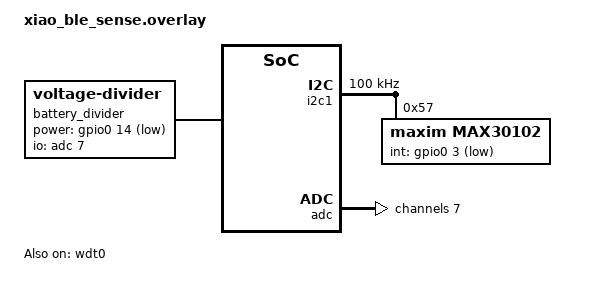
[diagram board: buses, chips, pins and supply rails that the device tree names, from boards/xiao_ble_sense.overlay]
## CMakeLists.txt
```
cmake_minimum_required(VERSION 3.20.0)

# Expose firmware/dts/bindings/ so the maxim,max30102 binding is found.
# Must come before find_package(Zephyr).
list(APPEND DTS_ROOT ${CMAKE_CURRENT_SOURCE_DIR})

find_package(Zephyr REQUIRED HINTS $ENV{ZEPHYR_BASE})
project(xiao_sense_app)

target_sources(app PRIVATE
    src/main.c
    src/led.c
    src/imu.c
    src/max30102.c
    src/power.c
    src/ble.c
    src/battery.c
    src/contact.c
    src/watchdog.c
    src/crashlog.c
)
```

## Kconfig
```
mainmenu "PhysDAQ Wearable"

source "Kconfig.zephyr"

config PHYSDAQ_IDLE_TIMEOUT_SEC
	int "Seconds of inactivity before deep sleep"
	default 10
	range 5 300
	help
	  The device enters deep sleep (system off, ~0.4 µA) after this many
	  consecutive seconds with none of the three activity signals: no
	  gyroscope motion, no IR skin contact (see firmware/src/contact.c),
	  and no host link (BLE connection or USB port held open). Worn but
	  still (e.g. resting) does not trigger sleep, and neither does a live
	  host link — a node left connected never sleeps, so disconnect it to
	  let it go down.
	  Wake-up is triggered by the LSM6DS3TR-C activity interrupt on INT1.
	  Change in prj.conf: CONFIG_PHYSDAQ_IDLE_TIMEOUT_SEC=<value>
```

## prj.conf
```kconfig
CONFIG_GPIO=y
CONFIG_SERIAL=y
CONFIG_UART_CONSOLE=y
# DTR on the CDC ACM console tells power.c whether a host holds the USB port
# open — a cabled session must hold off deep sleep like a BLE link does.
CONFIG_UART_LINE_CTRL=y

CONFIG_I2C=y
CONFIG_SENSOR=y
CONFIG_LSM6DSL=y

# VBAT sense (P0.31/AIN7, gated by P0.14) — battery percentage status
CONFIG_ADC=y

# Hardware watchdog — auto-reset the SoC if main() hangs (e.g. a wedged I2C
# bus). Fed each loop iteration in firmware/src/main.c.
CONFIG_WATCHDOG=y
# crashlog.c overrides the fatal-error handler to record the fault in noinit
# RAM and reboot, instead of Zephyr's default halt-with-interrupts-locked that
# left the crash invisible and the watchdog to clean up 8 s later.
CONFIG_REBOOT=y
# Headroom. main() formats a 160 B line through picolibc's printf on top of
# the sensor structs, and the default 1 KiB was never measured against it.
CONFIG_MAIN_STACK_SIZE=2048
# Thread names for the watchdog starvation report ("CPU held by ...").
CONFIG_THREAD_NAME=y

# Seconds of inactivity (no motion AND no validated skin contact) before
# entering deep sleep (System Off via nRF HAL). Change here without
# touching source code.
CONFIG_PHYSDAQ_IDLE_TIMEOUT_SEC=10

# BLE — NUS-compatible GATT service for wireless data streaming
# NUS service is implemented directly in firmware/src/ble.c using raw GATT
# macros (no CONFIG_BT_NUS dependency — that is NCS-only, not plain Zephyr).
CONFIG_BT=y
CONFIG_BT_PERIPHERAL=y
CONFIG_BT_DEVICE_NAME="PhysDAQ"
CONFIG_BT_MAX_CONN=1
# Every unit used to advertise the identical "PhysDAQ", so a scan could not tell
# two nodes apart. ble.c appends a per-chip suffix at boot, which needs the name
# to be writable at runtime (DYNAMIC) and HWINFO for the factory device ID.
# The name is derived, not stored — no NVS is configured on this board.
CONFIG_BT_DEVICE_NAME_DYNAMIC=y
CONFIG_BT_DEVICE_NAME_MAX=24
CONFIG_HWINFO=y
# Allow MTU negotiation up to 247 bytes so a full data line fits in one notify.
# BT_GATT_CLIENT enables bt_gatt_exchange_mtu() — needed even on a peripheral.
CONFIG_BT_GATT_CLIENT=y
CONFIG_BT_L2CAP_TX_MTU=247
CONFIG_BT_BUF_ACL_TX_SIZE=251
CONFIG_BT_BUF_ACL_RX_SIZE=251
# The host buffers above are 251 B, but the *controller* was still at the
# 27 B LL default (CONFIG_BT_CTLR_DATA_LENGTH_MAX=27 in build/zephyr/.config),
# so every ~120 B line went out as five link-layer packets. That is what
# saturated the link at Windows' 30 ms interval and made ble_send() drop
# lines ("dropped N" in the Power: status). Data Length Extension lets one
# line ride in one packet; Windows negotiates it.
CONFIG_BT_CTLR_DATA_LENGTH_MAX=251
# Deeper TX pools (default 3 each): a burst of a sample, battery and status
# line within one interval no longer stalls the TX thread.
CONFIG_BT_BUF_ACL_TX_COUNT=6
CONFIG_BT_L2CAP_TX_BUF_COUNT=6
CONFIG_BT_CONN_TX_MAX=6
CONFIG_BT_ATT_TX_COUNT=6

# Radio TX power: +8 dBm (default is 0). A worn node's antenna is shadowed by
# the body, and 2.4 GHz body attenuation is severe — link fades were throttling
# throughput (visible as a slowdown in the app) and then tripping the
# supervision timeout. The extra margin rides through most fades.
CONFIG_BT_CTLR_TX_PWR_PLUS_8=y

# Preferred connection parameters, requested from the central ~5 s after
# connect (BT_GAP_AUTO_UPDATE_CONN_PARAMS). Windows' defaults pair a lazy
# interval with a ~2 s supervision timeout; we ask for a short interval
# (15–30 ms, headroom for ~25 Hz of ~120 B lines) and a 5 s timeout so a brief
# fade degrades throughput instead of killing the link. Best-effort — the
# central may reject.
#
# DISABLED: on Windows the node died ~50 ms to ~1 s after the update was
# applied ("BLE: conn params: interval 15 ms" was the last line before the
# console vanished), every time, and reset with cause=watchdog. Left off until
# the failure is understood; the central's defaults are what worked before.
CONFIG_BT_GAP_AUTO_UPDATE_CONN_PARAMS=n
CONFIG_BT_PERIPHERAL_PREF_MIN_INT=12
CONFIG_BT_PERIPHERAL_PREF_MAX_INT=24
CONFIG_BT_PERIPHERAL_PREF_LATENCY=0
CONFIG_BT_PERIPHERAL_PREF_TIMEOUT=500
```

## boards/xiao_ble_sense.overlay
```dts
/*
 * XIAO BLE Sense overlay — PhysDAQ PPG + IMU
 *
 * I2C0 @ 0x6A : LSM6DS3TR-C IMU  (pinctrl: SDA=P0.07, SCL=P0.27; unchanged)
 * I2C1 @ 0x57 : MAX30102 PPG     (pinctrl: SDA=D4/P0.04, SCL=D5/P0.05)
 * D1  / P0.03 : MAX30102 INT (active LOW, open-drain, internal pull-up)
 *
 * The MAXREFDES117# eval board has no accessible EN/SHDN pin — the MAX30102
 * is always powered when VIN is connected.  No load-switch control needed.
 *
 * LED0 (P0.26 red), LED1 (P0.30 green), LED2 (P0.06 blue) are defined in
 * xiao_ble_common.dtsi and are not redefined here.
 */

#include <zephyr/dt-bindings/gpio/gpio.h>
#include <zephyr/dt-bindings/i2c/i2c.h>
#include <zephyr/dt-bindings/adc/adc.h>
#include <zephyr/dt-bindings/adc/nrf-adc.h>

/* Add MAX30102 child to the already-enabled I2C1 bus.
 * i2c1 uses nordic,nrf-twi with pinctrl already configured in
 * xiao_ble-pinctrl.dtsi (SDA=P0.04/D4, SCL=P0.05/D5). */
&i2c1 {
	clock-frequency = <I2C_BITRATE_STANDARD>;

	max30102: max30102@57 {
		compatible = "maxim,max30102";
		reg = <0x57>;
		int-gpios = <&gpio0 3 (GPIO_ACTIVE_LOW | GPIO_PULL_UP)>;
		status = "okay";
	};
};

/*
 * VBAT sense circuit (Seeed XIAO nRF52840 Sense hardware, not in the
 * connector pin map): 1M / 510k divider to AIN7 (P0.31), gated by the
 * active-low P0.14 read-enable pin. P0.14 LOW connects the divider; HIGH
 * disconnects it. The pin is therefore driven LOW only while sampling and
 * left HIGH the rest of the time, so the divider does not draw its ~2 uA
 * continuously. GPIO_ACTIVE_LOW below is what makes battery.c's logical
 * "1 = sampling" come out as a physical LOW.
 */
/ {
	battery_divider: battery-divider {
		compatible = "voltage-divider";
		io-channels = <&adc 7>;
		output-ohms = <510000>;
		full-ohms = <(1000000 + 510000)>;
		power-gpios = <&gpio0 14 GPIO_ACTIVE_LOW>;
	};
};

/* Hardware watchdog — last-resort recovery if main() ever hangs
 * (see firmware/src/watchdog.c). Usually already enabled on nRF52840, but
 * make it explicit so the build never silently drops the WDT. */
&wdt0 {
	status = "okay";
};

&adc {
	#address-cells = <1>;
	#size-cells = <0>;

	channel@7 {
		reg = <7>;
		zephyr,gain = "ADC_GAIN_1_6";
		zephyr,reference = "ADC_REF_INTERNAL";
		zephyr,acquisition-time = <ADC_ACQ_TIME_DEFAULT>;
		zephyr,input-positive = <NRF_SAADC_AIN7>;
		zephyr,resolution = <12>;
	};
};
```

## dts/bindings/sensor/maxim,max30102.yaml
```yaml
description: MAX30102 pulse oximeter and heart-rate sensor

compatible: "maxim,max30102"

include: [sensor-device.yaml, i2c-device.yaml]

properties:
  int-gpios:
    type: phandle-array
    required: true
    description: Active-low data-ready interrupt from MAX30102 INT pin
```

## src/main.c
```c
#include <zephyr/kernel.h>
#include <zephyr/sys/printk.h>
#include <zephyr/drivers/sensor.h>
#include "imu.h"
#include "max30102.h"
#include "power.h"
#include "ble.h"
#include "battery.h"
#include "contact.h"
#include "watchdog.h"
#include "version.h"
#include "crashlog.h"
#include <zephyr/drivers/hwinfo.h>

/* Format a sensor_value (val1 + val2/1e6) as "±integer.milli" using printk.
 * Mirrors the print_val helper in imu.c, kept local to avoid coupling. */
#define SV_SIGN(v)  (((v)->val1 < 0 || (v)->val2 < 0) ? "-" : "")
#define SV_INT(v)   ((v)->val1 < 0 ? -(v)->val1 : (v)->val1)
#define SV_MILLI(v) (((v)->val2 < 0 ? -(v)->val2 : (v)->val2) / 1000)

/*
 * Identity line. This is what tells the host which firmware it is talking to
 * and how many PPG channels to expect.
 *
 * Sent over both transports, unlike most diagnostics. The manufacturer data in
 * the advertisement carries the same device type, but USB CDC has no
 * advertising at all, so without this line a cabled node is unidentifiable.
 * Re-sent on every new BLE connection: a central that connects late has missed
 * the boot copy, and on USB the console does not exist yet while the board
 * boots, so the boot copy is routinely lost there too.
 */
/* Why the SoC last started. Read once at boot and cleared, then repeated to
 * every host that connects: a node that keeps "disconnecting" over BLE may
 * in fact be rebooting, and this is the only way to tell a watchdog reset
 * (main loop hung) from a fatal error (crash) or wake-from-System-Off
 * without a cable on the console. */
static uint32_t boot_cause;
static int64_t  boot_ms;

static const char *boot_cause_str(uint32_t c)
{
    if (c & RESET_WATCHDOG)      return "watchdog";
    if (c & RESET_SOFTWARE)      return "software (fatal error or reboot)";
    if (c & RESET_LOW_POWER_WAKE) return "wake from deep sleep";
    if (c & RESET_PIN)           return "reset pin";
    if (c & RESET_POR)           return "power-on";
    if (c & RESET_BROWNOUT)      return "brownout";
    if (c & RESET_DEBUG)         return "debugger";
    return "unknown";
}

static void send_identity(void)
{
    char line[128];
    int n = snprintk(line, sizeof(line),
        "ID model=node proto=%d fw=%s ppg=1 sd=0 name=%s\n",
        PHYSDAQ_AD_PROTO_VERSION, PHYSDAQ_FW_STRING, ble_device_name());

    printk("%s", line);
    ble_send((const uint8_t *)line, n);

    n = snprintk(line, sizeof(line),
        "Boot: cause=0x%x (%s), up %lld s\n",
        (unsigned int)boot_cause, boot_cause_str(boot_cause),
        (long long)((k_uptime_get() - boot_ms) / 1000));
    printk("%s", line);
    ble_send((const uint8_t *)line, n);

    n = crashlog_format(line, sizeof(line));
    if (n > 0) {
        printk("%s", line);
        ble_send((const uint8_t *)line, n);
    }
    n = crashlog_format_hang(line, sizeof(line));
    if (n > 0) {
        printk("%s", line);
        ble_send((const uint8_t *)line, n);
    }
}

int main(void)
{
    boot_ms = k_uptime_get();
    crashlog_init();
    if (hwinfo_get_reset_cause(&boot_cause) == 0) {
        /* Cleared so the next boot reports its own cause, not this one. */
        hwinfo_clear_reset_cause();
    }

    if (imu_init() < 0) {
        return 0;
    }

    if (max30102_init() < 0) {
        printk("MAX30102 init failed — halting\n");
        return 0;
    }

    if (battery_init() < 0) {
        printk("Battery ADC init failed — continuing without battery status\n");
    }

    contact_init();
    power_init();

    if (ble_init() < 0) {
        printk("BLE init failed — running USB-only\n");
    }

    /* Arm the watchdog only after all (potentially slow) init has finished,
     * so init delays can never trip it. From here on, main() must feed it. */
    watchdog_init();

    printk("\n=== PhysDAQ: PPG + IMU acquisition ===\n");
    printk("PPG: SpO2 mode, 100 Hz, 18-bit ADC\n");
    printk("IMU: accel [m/s^2], gyro [rad/s]\n");
    printk("BLE: NUS advertising as PhysDAQ\n");
    printk("Battery: VBAT via P0.31/AIN7, sampled every 5 s\n");
    printk("Power: sleep after %d s idle\n\n",
           CONFIG_PHYSDAQ_IDLE_TIMEOUT_SEC);

    send_identity();

    int64_t last_data_ms = k_uptime_get();

    while (1) {
        /* Feed the watchdog once per outer iteration. The loop turns over at
         * least every 200 ms (the max30102_wait_ready timeout), so if anything
         * below hangs — a wedged I2C transfer in particular — the feeds stop
         * and the SoC resets itself within the WDT window instead of freezing
         * indefinitely. */
        watchdog_feed();

        /* Rising edge of a host link, on either transport. BLE: keyed on the
         * *subscription*, not the connection — on the connection edge the
         * central has not enabled notifications yet and ble_send() drops the
         * line. USB: keyed on DTR — the console does not exist while the
         * board boots, so the boot copy is routinely lost there, and this is
         * what makes the ID and Boot lines show up in `make term`. */
        static bool was_linked;
        watchdog_set_stage("identity");
        bool linked = ble_is_subscribed() || power_usb_host_open();
        if (linked && !was_linked) {
            send_identity();
        }
        was_linked = linked;
        watchdog_set_stage("diagnostics");
        ble_flush_diagnostics();

        /* Wait for a PPG_RDY interrupt, or fall through on the timeout. The
         * timeout path is harmless and self-healing: max30102_wait_ready()
         * clears the interrupt flag on every wake, and max30102_fetch() polls
         * the FIFO (returning -ENODATA when empty), so a missed edge costs one
         * timeout of latency rather than a permanent stall. */
        watchdog_set_stage("wait_ready");
        max30102_wait_ready(K_MSEC(200));

        struct ppg_sample ppg;
        struct imu_sample imu;
        bool got_data = false;

        watchdog_set_stage("ppg_fetch");
        while (max30102_fetch(&ppg) == 0) {
            /* Fed here as well as at the top of the outer loop. This inner
             * loop only exits once the FIFO is empty, and when one sample's
             * worth of work (I2C reads, a 120 B printk over USB CDC, a BLE
             * notify) takes longer than the 10 ms sample period the FIFO
             * never empties — the loop spins healthily forever, the outer
             * feed is never reached, and the watchdog resets a node that was
             * streaming perfectly, with no message on either transport. That
             * was the "silent drop mid-stream" signature. A hang inside this
             * loop (wedged I2C) still stops the feeds, so the guard holds. */
            watchdog_feed();
            got_data = true;
            watchdog_set_stage("imu_fetch");
            if (imu_fetch_sample(&imu) < 0) {
                watchdog_set_stage("ppg_fetch");
                continue;
            }

            /* Format once, send to both USB console and BLE NUS */
            char line[160];
            int n = snprintk(line, sizeof(line),
                "PPG red=%u ir=%u | IMU "
                "ax=%s%d.%03d ay=%s%d.%03d az=%s%d.%03d "
                "gx=%s%d.%03d gy=%s%d.%03d gz=%s%d.%03d\n",
                ppg.red, ppg.ir,
                SV_SIGN(&imu.accel[0]), SV_INT(&imu.accel[0]), SV_MILLI(&imu.accel[0]),
                SV_SIGN(&imu.accel[1]), SV_INT(&imu.accel[1]), SV_MILLI(&imu.accel[1]),
                SV_SIGN(&imu.accel[2]), SV_INT(&imu.accel[2]), SV_MILLI(&imu.accel[2]),
                SV_SIGN(&imu.gyro[0]),  SV_INT(&imu.gyro[0]),  SV_MILLI(&imu.gyro[0]),
                SV_SIGN(&imu.gyro[1]),  SV_INT(&imu.gyro[1]),  SV_MILLI(&imu.gyro[1]),
                SV_SIGN(&imu.gyro[2]),  SV_INT(&imu.gyro[2]),  SV_MILLI(&imu.gyro[2]));

            watchdog_set_stage("printk");
            printk("%s", line);

            /* BLE link can carry ~4 kB/s at default Windows connection params.
             * 100 Hz × 120 B = 12 kB/s would overflow the TX queue instantly.
             * Cap at one notification per 40 ms (~25 Hz) — plenty for display. */
            static int64_t ble_last_ms;
            int64_t now_ms = k_uptime_get();
            if (now_ms - ble_last_ms >= 40) {
                ble_last_ms = now_ms;
                watchdog_set_stage("ble_send");
                ble_send((const uint8_t *)line, n);
            }

            watchdog_set_stage("contact");
            contact_update(ppg.ir);
            watchdog_set_stage("power");
            power_update(imu.gyro);

            /* Internally rate-limited to once every 5 s — cheap to call
             * every sample. */
            uint8_t batt_pct;
            int32_t batt_mv;
            watchdog_set_stage("battery");
            if (battery_poll(&batt_pct, &batt_mv) == 0) {
                char batt_line[48];
                int batt_n = snprintk(batt_line, sizeof(batt_line),
                    "Battery: %u%% (%d mV)\n", batt_pct, batt_mv);
                printk("%s", batt_line);
                ble_send((const uint8_t *)batt_line, batt_n);
            }
            watchdog_set_stage("ppg_fetch");
        }

        /* Sensor-stall recovery. If the FIFO produced nothing for over a
         * second the MAX30102 (or its I2C bus) has stalled — the CPU is fine,
         * so the watchdog won't help. Re-running init recovers the bus and
         * fully reconfigures the sensor, restarting acquisition instead of
         * leaving the whole pipeline (serial + BLE + power mgmt) frozen. */
        int64_t now = k_uptime_get();
        if (got_data) {
            last_data_ms = now;
        } else if (now - last_data_ms > 1000) {
            /* Dual-send like the battery line: over BLE, printk-only
             * diagnostics never reach the app, and a recurring reinit is
             * exactly the "slowdown before disconnect" signature worth
             * seeing in the System Logs pane. */
            static const char reinit_msg[] =
                "MAX30102: no data for >1s — reinitialising sensor\n";
            printk("%s", reinit_msg);
            ble_send((const uint8_t *)reinit_msg, sizeof(reinit_msg) - 1);
            watchdog_set_stage("max30102_reinit");
            max30102_init();
            last_data_ms = k_uptime_get();
        }
    }

    return 0;
}
```

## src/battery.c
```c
#include <zephyr/kernel.h>
#include <zephyr/drivers/adc.h>
#include <zephyr/drivers/adc/voltage_divider.h>
#include <zephyr/drivers/gpio.h>
#include <zephyr/sys/printk.h>
#include "battery.h"

#define SAMPLE_INTERVAL_MS  5000

/* VBAT divider on the XIAO nRF52840 Sense: R1=1M / R2=510k into AIN7
 * (P0.31), gated by the P0.14 read-enable pin (active low — leaving it
 * HIGH disconnects the divider and risks over-volting P0.31 above its
 * 3.6V input limit per Seeed's hardware notes). */
static const struct voltage_divider_dt_spec vbatt =
	VOLTAGE_DIVIDER_DT_SPEC_GET(DT_NODELABEL(battery_divider));
static const struct gpio_dt_spec read_en =
	GPIO_DT_SPEC_GET(DT_NODELABEL(battery_divider), power_gpios);

/* Single-cell LiPo discharge curve: voltage (mV) -> state of charge (%). */
struct battery_point {
	int32_t mv;
	uint8_t pct;
};
static const struct battery_point curve[] = {
	{4200, 100}, {4110, 90}, {4020, 80}, {3930, 70}, {3840, 60},
	{3750, 50},  {3660, 40}, {3570, 30}, {3480, 20}, {3390, 10}, {3300, 0},
};

static int64_t last_sample_ms;

static uint8_t percent_from_mv(int32_t mv)
{
	int n = ARRAY_SIZE(curve);

	if (mv >= curve[0].mv) {
		return 100;
	}
	if (mv <= curve[n - 1].mv) {
		return 0;
	}

	for (int i = 0; i < n - 1; i++) {
		if (mv <= curve[i].mv && mv >= curve[i + 1].mv) {
			int32_t span_mv  = curve[i].mv - curve[i + 1].mv;
			int32_t span_pct = curve[i].pct - curve[i + 1].pct;

			return curve[i + 1].pct + (mv - curve[i + 1].mv) * span_pct / span_mv;
		}
	}
	return 0;
}

int battery_init(void)
{
	if (!gpio_is_ready_dt(&read_en) || !adc_is_ready_dt(&vbatt.port)) {
		printk("Battery ADC/GPIO not ready\n");
		return -ENODEV;
	}

	if (gpio_pin_configure_dt(&read_en, GPIO_OUTPUT_INACTIVE) < 0) {
		printk("Battery read-enable GPIO config failed\n");
		return -EIO;
	}

	if (adc_channel_setup_dt(&vbatt.port) < 0) {
		printk("Battery ADC channel setup failed\n");
		return -EIO;
	}

	last_sample_ms = k_uptime_get() - SAMPLE_INTERVAL_MS;  /* sample on first poll */
	return 0;
}

int battery_poll(uint8_t *out_percent, int32_t *out_mv)
{
	int64_t now = k_uptime_get();

	if (now - last_sample_ms < SAMPLE_INTERVAL_MS) {
		return -EAGAIN;
	}
	last_sample_ms = now;

	int16_t buf;
	struct adc_sequence sequence = {
		.buffer = &buf,
		.buffer_size = sizeof(buf),
	};

	gpio_pin_set_dt(&read_en, 1);
	k_sleep(K_USEC(200));  /* let the divider settle before sampling */
	adc_sequence_init_dt(&vbatt.port, &sequence);
	int ret = adc_read_dt(&vbatt.port, &sequence);
	gpio_pin_set_dt(&read_en, 0);

	if (ret < 0) {
		return ret;
	}

	int32_t mv = buf;
	adc_raw_to_millivolts_dt(&vbatt.port, &mv);
	voltage_divider_scale_dt(&vbatt, &mv);

	*out_mv = mv;
	*out_percent = percent_from_mv(mv);
	return 0;
}
```

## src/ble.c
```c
#include <zephyr/kernel.h>
#include <zephyr/bluetooth/bluetooth.h>
#include <zephyr/bluetooth/conn.h>
#include <zephyr/bluetooth/uuid.h>
#include <zephyr/bluetooth/gatt.h>
#include <zephyr/sys/util.h>
#include <zephyr/sys/printk.h>
#include <zephyr/drivers/hwinfo.h>
#include <string.h>
#include "ble.h"

/* NUS-compatible UUIDs — identical to Nordic UART Service, so any NUS
 * client (bleak, nRF Connect app) works without any extra configuration. */
#define BT_UUID_NUS_SERVICE_VAL \
	BT_UUID_128_ENCODE(0x6e400001, 0xb5a3, 0xf393, 0xe0a9, 0xe50e24dcca9e)
#define BT_UUID_NUS_TX_VAL \
	BT_UUID_128_ENCODE(0x6e400003, 0xb5a3, 0xf393, 0xe0a9, 0xe50e24dcca9e)
#define BT_UUID_NUS_RX_VAL \
	BT_UUID_128_ENCODE(0x6e400002, 0xb5a3, 0xf393, 0xe0a9, 0xe50e24dcca9e)

#define BT_UUID_NUS_SERVICE BT_UUID_DECLARE_128(BT_UUID_NUS_SERVICE_VAL)
#define BT_UUID_NUS_TX      BT_UUID_DECLARE_128(BT_UUID_NUS_TX_VAL)
#define BT_UUID_NUS_RX      BT_UUID_DECLARE_128(BT_UUID_NUS_RX_VAL)

/* One queued line is at most a full sample line (main.c formats into 160 B).
 * Depth: at ~25 Hz a line every 40 ms, 16 slots is ~0.6 s of back-pressure
 * before lines start being dropped — enough to ride through a short fade
 * without growing an unbounded backlog of stale samples. */
#define TX_MSG_MAX       160
#define TX_QUEUE_DEPTH   16
#define TX_THREAD_STACK  2048
/* Below main (0): the acquisition loop always wins the CPU. */
#define TX_THREAD_PRIO   7

struct tx_msg {
	uint16_t len;
	uint8_t  data[TX_MSG_MAX];
};

K_MSGQ_DEFINE(tx_q, sizeof(struct tx_msg), TX_QUEUE_DEPTH, 4);


static struct bt_conn              *current_conn;
static bool                         notify_enabled;
static struct bt_gatt_exchange_params mtu_params;

/* Link diagnostics, recorded in the BT callbacks and drained by
 * ble_flush_diagnostics() from main(). They are kept rather than printed
 * because printk only reaches the USB console: a node used wirelessly loses
 * its link in silence otherwise. The disconnect reason in particular is the
 * one fact that separates a radio fade (supervision timeout) from the host
 * closing the link or the node resetting, and it can only be reported on the
 * *next* connection. */
static uint8_t  last_disc_reason;
static bool     disc_pending;
static uint16_t cur_interval, cur_latency, cur_timeout;
static bool     params_pending;

static void tx_ccc_changed(const struct bt_gatt_attr *attr, uint16_t value)
{
	notify_enabled = (value == BT_GATT_CCC_NOTIFY);
}

static ssize_t on_rx_write(struct bt_conn *conn,
			   const struct bt_gatt_attr *attr,
			   const void *buf, uint16_t len,
			   uint16_t offset, uint8_t flags)
{
	/* PC→device RX reserved for future commands */
	ARG_UNUSED(conn); ARG_UNUSED(attr);
	ARG_UNUSED(buf);  ARG_UNUSED(offset); ARG_UNUSED(flags);
	return len;
}

/* GATT service attribute table.  Indices matter for ble_send():
 * [0] Primary service
 * [1] TX characteristic declaration
 * [2] TX characteristic value  ← bt_gatt_notify() target
 * [3] TX CCC descriptor        (subscribe/unsubscribe)
 * [4] RX characteristic declaration
 * [5] RX characteristic value  */
BT_GATT_SERVICE_DEFINE(nus_svc,
	BT_GATT_PRIMARY_SERVICE(BT_UUID_NUS_SERVICE),

	BT_GATT_CHARACTERISTIC(BT_UUID_NUS_TX,
			       BT_GATT_CHRC_NOTIFY,
			       BT_GATT_PERM_NONE,
			       NULL, NULL, NULL),
	BT_GATT_CCC(tx_ccc_changed,
		    BT_GATT_PERM_READ | BT_GATT_PERM_WRITE),

	BT_GATT_CHARACTERISTIC(BT_UUID_NUS_RX,
			       BT_GATT_CHRC_WRITE_WITHOUT_RESP,
			       BT_GATT_PERM_WRITE,
			       NULL, on_rx_write, NULL),
);

/* Advertising payload.
 *
 * The NUS service UUID is here so a scanner can filter on it — that is how
 * discovery works and the only thing it keys on.
 *
 * The manufacturer-specific field carries the device class. Company ID 0xFFFF
 * is the Bluetooth SIG's reserved "no company / local use" value, which is
 * what this is: a private hint, not an assigned identifier. bleak strips the
 * company ID and hands the host the rest:
 *
 *   [0] AD protocol version
 *   [1] device type   (PHYSDAQ_DEV_TYPE_*)
 *   [2] PPG channel count
 *   [3] capability flags (PHYSDAQ_DEV_FLAG_*)
 *
 * It is a *hint for the scan list only* — it lets the desktop app label an
 * entry as a hub before connecting. Discovery still filters on the service
 * UUID and never on this field or on the name, and once connected the ID line
 * is the authority. The ID line is also the only one of the two that exists on
 * USB, which has no advertising at all.
 *
 * Size: 3 (flags) + 18 (128-bit UUID) + 8 (manufacturer data) = 29 of the 31
 * bytes an advertising payload allows. The name goes in the scan response, not
 * here; adding anything further needs that arithmetic redone.
 */
static const struct bt_data ad[] = {
	BT_DATA_BYTES(BT_DATA_FLAGS,
		      (BT_LE_AD_GENERAL | BT_LE_AD_NO_BREDR)),
	BT_DATA_BYTES(BT_DATA_UUID128_ALL, BT_UUID_NUS_SERVICE_VAL),
	BT_DATA_BYTES(BT_DATA_MANUFACTURER_DATA,
		      0xFF, 0xFF,
		      PHYSDAQ_AD_PROTO_VERSION,
		      PHYSDAQ_DEV_TYPE_NODE,
		      1,
		      0x00),
};

/* Filled in by set_unique_name() before advertising starts. Not const, and not
 * built from CONFIG_BT_DEVICE_NAME directly: the name carries a per-chip suffix
 * that is only known at runtime. */
static char             adv_name[CONFIG_BT_DEVICE_NAME_MAX + 1];
static struct bt_data   sd[1];

/* Append a suffix from the factory device ID, so two nodes are distinguishable
 * in a scan. Derived rather than stored — this board has no NVS configured, and
 * the ID is stable across reboots and reflashes because it is burned into FICR.
 * Falls back to the plain configured name if hwinfo is unavailable, which costs
 * uniqueness but never prevents the node from advertising. */
static void set_unique_name(void)
{
	uint8_t id[8];
	ssize_t len = hwinfo_get_device_id(id, sizeof(id));

	if (len >= 2) {
		snprintk(adv_name, sizeof(adv_name), "%s-%02X%02X",
			 CONFIG_BT_DEVICE_NAME, id[len - 2], id[len - 1]);
	} else {
		snprintk(adv_name, sizeof(adv_name), "%s", CONFIG_BT_DEVICE_NAME);
	}

	int err = bt_set_name(adv_name);
	if (err) {
		printk("BLE: could not set name \"%s\" (%d)\n", adv_name, err);
	}

	/* Advertise whatever the stack actually accepted, which may have been
	 * truncated to CONFIG_BT_DEVICE_NAME_MAX. */
	const char *name = bt_get_name();
	sd[0] = (struct bt_data)BT_DATA(BT_DATA_NAME_COMPLETE, name, strlen(name));
}

static void mtu_exchanged(struct bt_conn *conn, uint8_t err,
			  struct bt_gatt_exchange_params *params)
{
	/* Log negotiated MTU so we can confirm payload capacity in make term */
	printk("BLE: MTU %u bytes (%u payload)\n",
	       bt_gatt_get_mtu(conn), bt_gatt_get_mtu(conn) - 3);
}

static void on_connected(struct bt_conn *conn, uint8_t err)
{
	if (err) {
		return;
	}
	current_conn = bt_conn_ref(conn);

	/* Request larger ATT MTU so a full data line (~120 B) fits in one notify.
	 * Default ATT MTU = 23 B → 20 B payload, which is far too small.
	 * Requesting from both sides ensures negotiation even if the central
	 * (bleak) doesn't initiate it first. */
	mtu_params.func = mtu_exchanged;
	bt_gatt_exchange_mtu(conn, &mtu_params);

	printk("BLE: connected\n");
}

/* HCI disconnect reason codes (Core Spec Vol 1 Part F). Only the ones that
 * actually show up in practice on this link are named. */
static const char *ble_reason_str(uint8_t reason)
{
	switch (reason) {
	case 0x08: return "supervision timeout (radio fade)";
	case 0x13: return "closed by host";
	case 0x16: return "closed by node";
	case 0x22: return "LMP/LL response timeout";
	case 0x28: return "instant passed";
	case 0x3b: return "unacceptable conn params";
	case 0x3d: return "MIC failure";
	case 0x3e: return "failed to establish";
	default:   return "other";
	}
}

static void on_disconnected(struct bt_conn *conn, uint8_t reason)
{
	if (current_conn) {
		bt_conn_unref(current_conn);
		current_conn   = NULL;
		notify_enabled = false;
	}
	/* Whatever is queued was meant for this link; a new host should not
	 * start with a burst of stale samples. */
	k_msgq_purge(&tx_q);
	last_disc_reason = reason;
	disc_pending     = true;
	bt_le_adv_start(BT_LE_ADV_CONN, ad, ARRAY_SIZE(ad), sd, ARRAY_SIZE(sd));
	printk("BLE: disconnected (reason 0x%02x %s) — advertising\n",
	       reason, ble_reason_str(reason));
}

/* Log what the central actually granted after the preferred-parameter
 * request (prj.conf BT_PERIPHERAL_PREF_*). The timeout matters most: with
 * Windows' short default, a radio fade kills the link instead of just
 * degrading it — this line is the way to confirm the 5 s request stuck. */
static void on_param_updated(struct bt_conn *conn, uint16_t interval,
			     uint16_t latency, uint16_t timeout)
{
	printk("BLE: conn params: interval %u ms, latency %u, timeout %u ms\n",
	       (unsigned int)(interval * 125U / 100U), latency, timeout * 10U);
}

BT_CONN_CB_DEFINE(conn_cbs) = {
	.connected        = on_connected,
	.disconnected     = on_disconnected,
	.le_param_updated = on_param_updated,
};

int ble_init(void)
{
	int err = bt_enable(NULL);
	if (err) {
		printk("BLE: enable failed (%d)\n", err);
		return err;
	}

	/* After bt_enable(): bt_set_name() needs the stack up. */
	set_unique_name();

	err = bt_le_adv_start(BT_LE_ADV_CONN, ad, ARRAY_SIZE(ad),
			      sd, ARRAY_SIZE(sd));
	if (err) {
		printk("BLE: advertising start failed (%d)\n", err);
		return err;
	}

	printk("BLE: advertising as \"%s\" (NUS UUID)\n", bt_get_name());
	return 0;
}

/* BLE transmit path.
 *
 * bt_gatt_notify() is not the fire-and-forget call it looks like. For a
 * notification the host stack allocates the ATT PDU with K_FOREVER
 * (zephyr/subsys/bluetooth/host/att.c, bt_att_chan_create_pdu), so once the
 * ACL TX buffers are exhausted — a radio fade, a central that stops acking,
 * an MTU still at 23 B turning each line into six packets — the caller sleeps
 * until a buffer frees, which can be never. Called from main(), that sleep
 * starved the watchdog: a node streaming perfectly over USB reset itself 8 s
 * after the link degraded, with no message on either transport, and the host
 * saw it as a random disconnection (Boot: cause=watchdog on the next link).
 *
 * So main() never calls bt_gatt_notify(). ble_send() copies the line into a
 * bounded message queue with K_NO_WAIT and drops it if the queue is full;
 * a dedicated low-priority thread drains the queue and is the only thing that
 * ever blocks on the radio. Losing lines under back-pressure is the intended
 * behaviour — the link is rate-limited to ~25 Hz in main.c precisely because
 * the display does not need every sample — and a stuck TX thread costs
 * nothing but those lines until the link drops and the buffers come back. */
static uint32_t tx_dropped;

static void tx_thread(void *a, void *b, void *c)
{
	ARG_UNUSED(a); ARG_UNUSED(b); ARG_UNUSED(c);
	struct tx_msg msg;

	while (1) {
		k_msgq_get(&tx_q, &msg, K_FOREVER);

		/* Re-check here, not only in ble_send(): the link may have gone
		 * away while the message sat in the queue. */
		struct bt_conn *conn = current_conn;
		if (!conn || !notify_enabled) {
			continue;
		}

		uint16_t payload = bt_gatt_get_mtu(conn) - 3;
		/* Clamp in case MTU not yet negotiated or returns an odd value */
		if (payload < 20 || payload > 244) {
			payload = 20;
		}

		size_t offset = 0;
		while (offset < msg.len) {
			size_t chunk = MIN(payload, msg.len - offset);
			/* May block — that is this thread's job. -ENOTCONN or
			 * -ENOMEM: drop the rest of the line, never retry. */
			if (bt_gatt_notify(conn, &nus_svc.attrs[2],
					   msg.data + offset, chunk)) {
				break;
			}
			offset += chunk;
		}
	}
}

K_THREAD_DEFINE(ble_tx, TX_THREAD_STACK, tx_thread, NULL, NULL, NULL,
		TX_THREAD_PRIO, 0, 0);

void ble_send(const uint8_t *data, size_t len)
{
	if (!current_conn || !notify_enabled) {
		return;
	}

	struct tx_msg msg;
	msg.len = MIN(len, sizeof(msg.data));
	memcpy(msg.data, data, msg.len);

	if (k_msgq_put(&tx_q, &msg, K_NO_WAIT) != 0) {
		tx_dropped++;
	}
}

uint32_t ble_tx_dropped(void)
{
	return tx_dropped;
}

bool ble_is_connected(void)
{
	return current_conn != NULL;
}

bool ble_is_subscribed(void)
{
	return current_conn != NULL && notify_enabled;
}

void ble_flush_diagnostics(void)
{
	if (!ble_is_subscribed()) {
		return;
	}

	char line[96];
	int n;

	if (disc_pending) {
		disc_pending = false;
		n = snprintk(line, sizeof(line),
			     "BLE: previous link ended reason=0x%02x (%s)\n",
			     last_disc_reason, ble_reason_str(last_disc_reason));
		ble_send((const uint8_t *)line, n);
	}
	if (params_pending) {
		params_pending = false;
		n = snprintk(line, sizeof(line),
			     "BLE: conn params: interval %u ms, latency %u, timeout %u ms\n",
			     (unsigned int)(cur_interval * 125U / 100U),
			     cur_latency, cur_timeout * 10U);
		ble_send((const uint8_t *)line, n);
	}
}

const char *ble_device_name(void)
{
	/* bt_get_name(), not adv_name: the stack may have truncated the name to
	 * CONFIG_BT_DEVICE_NAME_MAX, and what is advertised is what it kept.
	 * adv_name is only the "has set_unique_name() run yet" flag here —
	 * before it has, bt_get_name() would hand back CONFIG_BT_DEVICE_NAME
	 * with no per-chip suffix, which is a name no node ever advertises. */
	return adv_name[0] ? bt_get_name() : "";
}

void ble_stop(void)
{
	bt_le_adv_stop();
	if (current_conn) {
		bt_conn_disconnect(current_conn,
				   BT_HCI_ERR_REMOTE_USER_TERM_CONN);
		k_sleep(K_MSEC(150));
	}
}
```

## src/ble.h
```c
#ifndef BLE_H
#define BLE_H

#include <stdbool.h>
#include <stddef.h>
#include <stdint.h>

/* Start BLE stack, register NUS service, begin advertising.
 * Advertises by NUS service UUID so the PC script can discover by UUID.
 * Returns 0 on success, negative errno on failure. */
int ble_init(void);

/* Queue data for the connected BLE central (PC). Never blocks: copies the
 * line into a bounded queue drained by a dedicated TX thread, and drops it
 * when no central is subscribed or the queue is full. See the comment above
 * tx_thread() in ble.c for why the caller must never touch the radio. */
void ble_send(const uint8_t *data, size_t len);

/* Lines dropped by ble_send() because the TX queue was full — a growing
 * number is the "link is degrading" signal. */
uint32_t ble_tx_dropped(void);

/* True while a central (PC) holds a connection. Used by the power
 * manager: an active link means a live acquisition session, which must
 * hold off the idle deep-sleep timer. */
bool ble_is_connected(void);

/* True once the central has also subscribed to TX notifications. This, not
 * ble_is_connected(), is the moment a line can actually reach the host:
 * a bleak client connects, discovers services, and only then writes the CCC,
 * so anything notified on the raw connection edge is silently dropped. */
bool ble_is_subscribed(void);

/* Send link diagnostics recorded by the BT callbacks (why the previous link
 * ended, which connection parameters the central granted) to a subscribed
 * host. Cheap no-op when nothing is pending; call from the main loop. */
void ble_flush_diagnostics(void);

/* Version of the host-facing identification protocol: the manufacturer-specific
 * AD payload and the ID line. Bump when either layout changes; a host that
 * reads a version it does not know falls back to "single-PPG node", which is
 * what everything was before this existed. */
#define PHYSDAQ_AD_PROTO_VERSION  0x02

/* Device class, advertised in the manufacturer-specific AD field and repeated
 * in the ID line the supervisor emits. A host that has only seen an
 * advertisement needs to know how many PPG channels to expect before it
 * connects; after connecting, the ID line is what actually decides. */
#define PHYSDAQ_DEV_TYPE_NODE  0x01
#define PHYSDAQ_DEV_TYPE_HUB   0x02

/* Bit flags in the AD payload and the ID line. */
#define PHYSDAQ_DEV_FLAG_SD    (1U << 0)   /* has removable storage */

/* Advertised name, e.g. "PhysDAQ-Hub-FDF9". Empty string before ble_init(). */
const char *ble_device_name(void);

/* Disconnect any active connection and stop advertising.
 * Must be called before entering deep sleep so the BLE controller
 * is idle when nrf_power_system_off() is invoked. */
void ble_stop(void);

#endif /* BLE_H */
```

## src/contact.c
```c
#include <zephyr/kernel.h>
#include "contact.h"

/* Same empirical threshold/approach as analysis/pipeline.py's
 * CONTACT_IR_MIN — open air reads ~100-300 raw IR counts on this
 * hardware (6.2 mA LED), skin contact ~29000+. Recalibrate both if LED
 * current/gain changes.
 *
 * This used to also require detecting an actual heartbeat (to reject an
 * inert reflective surface sitting at the right distance), but the
 * embedded peak detector never reliably found one on real hardware after
 * several tuning rounds — without a way to inspect the live raw
 * waveform, further blind tuning wasn't productive. Falling back to the
 * DC-only check already proven on the PC side.
 * Known limitation: a non-skin reflective surface could register as
 * "contact" too — there's no heartbeat check anymore. */
#define CONTACT_DC_MIN  5000.0f
#define DC_ALPHA        0.05f   /* ~0.8 Hz lowpass — reacts to finger
                                  * on/off within ~200 ms */

static float dc;

void contact_init(void)
{
	dc = 0.0f;
}

void contact_update(uint32_t ir_sample)
{
	dc += DC_ALPHA * ((float)ir_sample - dc);
}

bool contact_is_skin(void)
{
	return dc >= CONTACT_DC_MIN;
}

void contact_get_debug(struct contact_debug *out)
{
	out->dc = dc;
}
```

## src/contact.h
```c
#ifndef CONTACT_H
#define CONTACT_H

#include <stdint.h>
#include <stdbool.h>

/* Reset internal filter/peak-detector state. Call once at startup. */
void contact_init(void);

/* Feed one new IR sample — call once per PPG sample (same cadence as
 * max30102_fetch()). Updates DC/AC tracking and pulse validation. */
void contact_update(uint32_t ir_sample);

/* True only once a plausible heartbeat has been confirmed recently — a
 * steady IR DC bump alone (e.g. resting on a table) is not enough, see
 * contact.c for the validation method. */
bool contact_is_skin(void);

#endif /* CONTACT_H */
```

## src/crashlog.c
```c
#include <zephyr/kernel.h>
#include <zephyr/fatal.h>
#include <zephyr/sys/reboot.h>
#include <zephyr/sys/printk.h>
#include <string.h>
#include "crashlog.h"

/*
 * Why this exists. Vanilla Zephyr's fatal-error path ends in
 * arch_system_halt(): interrupts locked, spin forever. On this board that is
 * the worst possible outcome — the crash dump goes into the USB CDC ring
 * buffer but the USB interrupt that would transmit it can never run, so the
 * console just stops mid-line; the host sees a BLE supervision timeout 5 s
 * later; the hardware watchdog fires after 8 s; and the next boot says
 * "cause=watchdog", which is true but names the symptom. Every one of those
 * traces was chased before anyone suspected a crash.
 *
 * This override does two things instead: keeps the essentials (reason, PC,
 * LR, the thread that faulted) in a RAM region the linker does not zero, and
 * reboots at once. RAM survives a soft reset on the nRF52840, so the next
 * boot finds the record, and main.c sends it to the host in the boot report
 * on both transports. The magic guards against reading garbage after a real
 * power-on.
 */
struct crash_rec {
	uint32_t magic;
	uint32_t reason;
	uint32_t pc;
	uint32_t lr;
	char     thread[CONFIG_THREAD_MAX_NAME_LEN];
	uint8_t  in_isr;
};

#define CRASH_MAGIC 0xC5A5D0C5U

static __noinit struct crash_rec rec;

static bool have_last;
static struct crash_rec last;

/* Same idea for a hang. The starvation monitor in watchdog.c fires from the
 * system-clock interrupt when main() has stopped feeding the watchdog; it
 * also prints, but a console line is useless when the reason main is starved
 * is a cooperative thread hogging the CPU — the USB work item that would
 * transmit it never runs either. Writing here costs nothing and survives the
 * watchdog reset that follows. */
struct hang_rec {
	uint32_t magic;
	uint32_t starved_ms;
	uint32_t pc;             /* of the thread holding the CPU */
	int32_t  prio;
	char     stage[16];
	char     main_state[16];
	char     thread[CONFIG_THREAD_MAX_NAME_LEN];
};

#define HANG_MAGIC 0x4A46A4A6U

static __noinit struct hang_rec hang;

static bool have_hang;
static struct hang_rec last_hang;

static void copy_str(char *dst, size_t len, const char *src)
{
	strncpy(dst, src ? src : "?", len - 1);
	dst[len - 1] = '\0';
}

static const char *reason_str(uint32_t r)
{
	switch (r) {
	case K_ERR_CPU_EXCEPTION:  return "cpu exception (hard/bus/usage/mpu fault)";
	case K_ERR_SPURIOUS_IRQ:   return "spurious irq";
	case K_ERR_STACK_CHK_FAIL: return "stack overflow";
	case K_ERR_KERNEL_OOPS:    return "kernel oops";
	case K_ERR_KERNEL_PANIC:   return "kernel panic";
	default:                   return "arch-specific";
	}
}

void k_sys_fatal_error_handler(unsigned int reason, const z_arch_esf_t *esf)
{
	rec.magic  = CRASH_MAGIC;
	rec.reason = reason;
	rec.pc     = esf ? esf->basic.pc : 0;
	rec.lr     = esf ? esf->basic.lr : 0;
	rec.in_isr = k_is_in_isr();
	copy_str(rec.thread, sizeof(rec.thread),
		 k_is_in_isr() ? "ISR" : k_thread_name_get(k_current_get()));

	/* The kernel has already queued its own dump for the console; it will
	 * never be transmitted from here, and this reboot is what makes the
	 * node reappear in ~1 s instead of 8. */
	sys_reboot(SYS_REBOOT_COLD);
	CODE_UNREACHABLE;
}

void crashlog_note_hang(uint32_t starved_ms, const char *stage,
			const char *main_state, const char *thread,
			int prio, uint32_t pc)
{
	hang.starved_ms = starved_ms;
	hang.pc         = pc;
	hang.prio       = prio;
	copy_str(hang.stage, sizeof(hang.stage), stage);
	copy_str(hang.main_state, sizeof(hang.main_state), main_state);
	copy_str(hang.thread, sizeof(hang.thread), thread);
	hang.magic = HANG_MAGIC;
}

void crashlog_init(void)
{
	if (rec.magic == CRASH_MAGIC) {
		last      = rec;
		have_last = true;
	}
	if (hang.magic == HANG_MAGIC) {
		last_hang = hang;
		have_hang = true;
	}
	/* One report per event: a clean boot after this one says nothing. */
	rec.magic  = 0;
	hang.magic = 0;
}

int crashlog_format(char *buf, size_t len)
{
	if (!have_last) {
		return 0;
	}
	return snprintk(buf, len,
			"Crash: %s (reason %u) in %s%s pc=0x%08x lr=0x%08x\n",
			reason_str(last.reason), (unsigned int)last.reason,
			last.thread, last.in_isr ? " (isr)" : "",
			(unsigned int)last.pc, (unsigned int)last.lr);
}

int crashlog_format_hang(char *buf, size_t len)
{
	if (!have_hang) {
		return 0;
	}
	return snprintk(buf, len,
			"Hang: main starved %u ms at stage \"%s\" (main %s); "
			"CPU held by \"%s\" prio %d pc=0x%08x\n",
			(unsigned int)last_hang.starved_ms, last_hang.stage,
			last_hang.main_state, last_hang.thread,
			(int)last_hang.prio, (unsigned int)last_hang.pc);
}
```

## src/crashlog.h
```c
#ifndef PHYSDAQ_CRASHLOG_H
#define PHYSDAQ_CRASHLOG_H

#include <stddef.h>
#include <stdint.h>

/* Persist the essentials of a fatal error across the reboot it triggers, and
 * report them on the next boot. See crashlog.c for why the default halt was
 * unacceptable on this board. */

/* Call first thing in main(): captures and clears the record from the
 * previous boot before anything can clobber it. */
void crashlog_init(void);

/* Format the previous boot's crash as one line ("Crash: ... pc=0x...") into
 * buf. Returns the length, or 0 when the previous boot did not crash. Resolve
 * pc/lr with `arm-zephyr-eabi-addr2line -e build/zephyr/zephyr.elf 0x...`. */
int crashlog_format(char *buf, size_t len);

/* Record from the starvation monitor: main has not fed the watchdog for
 * starved_ms; `thread`/`prio`/`pc` describe whoever holds the CPU. Kept in
 * noinit RAM for the boot that follows the watchdog reset. */
void crashlog_note_hang(uint32_t starved_ms, const char *stage,
			const char *main_state, const char *thread,
			int prio, uint32_t pc);

/* Previous boot's hang, as one line ("Hang: ..."), or 0 if there was none. */
int crashlog_format_hang(char *buf, size_t len);

#endif /* PHYSDAQ_CRASHLOG_H */
```

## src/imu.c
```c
#include <zephyr/drivers/sensor.h>
#include <zephyr/sys/printk.h>
#include "imu.h"

static const struct device *imu = DEVICE_DT_GET_ONE(st_lsm6dsl);

static void print_val(const char *label, struct sensor_value *val)
{
    int32_t frac = val->val2 < 0 ? -val->val2 : val->val2;
    const char *neg = (val->val1 < 0 || val->val2 < 0) ? "-" : "";
    int32_t whole = val->val1 < 0 ? -val->val1 : val->val1;
    printk("%s:%s%d.%03d ", label, neg, whole, frac / 1000);
}

int imu_init(void)
{
    if (!device_is_ready(imu)) {
        printk("IMU not ready — check wiring & overlay\n");
        return -1;
    }

    struct sensor_value odr = { .val1 = 104, .val2 = 0 };
    if (sensor_attr_set(imu, SENSOR_CHAN_ACCEL_XYZ, SENSOR_ATTR_SAMPLING_FREQUENCY, &odr) < 0 ||
        sensor_attr_set(imu, SENSOR_CHAN_GYRO_XYZ,  SENSOR_ATTR_SAMPLING_FREQUENCY, &odr) < 0) {
        printk("IMU ODR config failed\n");
        return -1;
    }

    return 0;
}

void imu_print_sample(void)
{
    struct sensor_value accel[3], gyro[3], temp;

    if (sensor_sample_fetch(imu) < 0) {
        printk("IMU fetch error\n");
        return;
    }

    sensor_channel_get(imu, SENSOR_CHAN_ACCEL_XYZ, accel);
    sensor_channel_get(imu, SENSOR_CHAN_GYRO_XYZ, gyro);
    sensor_channel_get(imu, SENSOR_CHAN_DIE_TEMP, &temp);

    print_val("AX", &accel[0]); print_val("AY", &accel[1]); print_val("AZ", &accel[2]);
    printk(" | ");
    print_val("GX", &gyro[0]);  print_val("GY", &gyro[1]);  print_val("GZ", &gyro[2]);
    printk(" | ");
    print_val("T", &temp);
    printk("\n");
}
```

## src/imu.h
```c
#ifndef IMU_H
#define IMU_H

#include <zephyr/drivers/sensor.h>

struct imu_sample {
	struct sensor_value accel[3];  /* X, Y, Z  [m/s²] */
	struct sensor_value gyro[3];   /* X, Y, Z  [dps]  */
};

int  imu_init(void);
void imu_print_sample(void);
int  imu_fetch_sample(struct imu_sample *out);

#endif /* IMU_H */
```

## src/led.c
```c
#include <zephyr/drivers/gpio.h>
#include <zephyr/sys/printk.h>
#include "led.h"

static const struct gpio_dt_spec leds[] = {
    GPIO_DT_SPEC_GET(DT_ALIAS(led0), gpios),  /* red   */
    GPIO_DT_SPEC_GET(DT_ALIAS(led1), gpios),  /* green */
    GPIO_DT_SPEC_GET(DT_ALIAS(led2), gpios),  /* blue  */
};

int led_init(void)
{
    for (int i = 0; i < 3; i++) {
        if (!gpio_is_ready_dt(&leds[i])) {
            printk("LED %d not ready\n", i);
            return -1;
        }
        gpio_pin_configure_dt(&leds[i], GPIO_OUTPUT_INACTIVE);
    }
    return 0;
}

void led_set(bool r, bool g, bool b)
{
    gpio_pin_set_dt(&leds[0], r);
    gpio_pin_set_dt(&leds[1], g);
    gpio_pin_set_dt(&leds[2], b);
}

void led_off(void)
{
    led_set(false, false, false);
}
```

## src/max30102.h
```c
#ifndef MAX30102_H
#define MAX30102_H

#include <zephyr/kernel.h>
#include <stdint.h>

struct ppg_sample {
	uint32_t red;
	uint32_t ir;
};

/* Power on, configure SpO2 mode (100 Hz, 18-bit ADC, ~6.2 mA LEDs),
 * and arm the PPG_RDY GPIO interrupt.  Returns 0 or a negative errno. */
int max30102_init(void);

/* Block until the MAX30102 signals a new FIFO sample via the INT pin.
 * Clears the hardware interrupt by reading INT_STATUS1.
 * Returns 0, or -EAGAIN if the timeout elapses. */
int max30102_wait_ready(k_timeout_t timeout);

/* Read one sample pair (Red + IR) from the FIFO.
 * Returns 0 on success, -ENODATA if the FIFO is empty, -EIO on bus error. */
int max30102_fetch(struct ppg_sample *out);

/* Set the SHDN bit in MODE_CONFIG — cuts LED drive and ADC; the chip stays
 * on I2C but draws ~0.7 µA.  Call before entering deep sleep. */
void max30102_shutdown(void);

#endif /* MAX30102_H */
```
